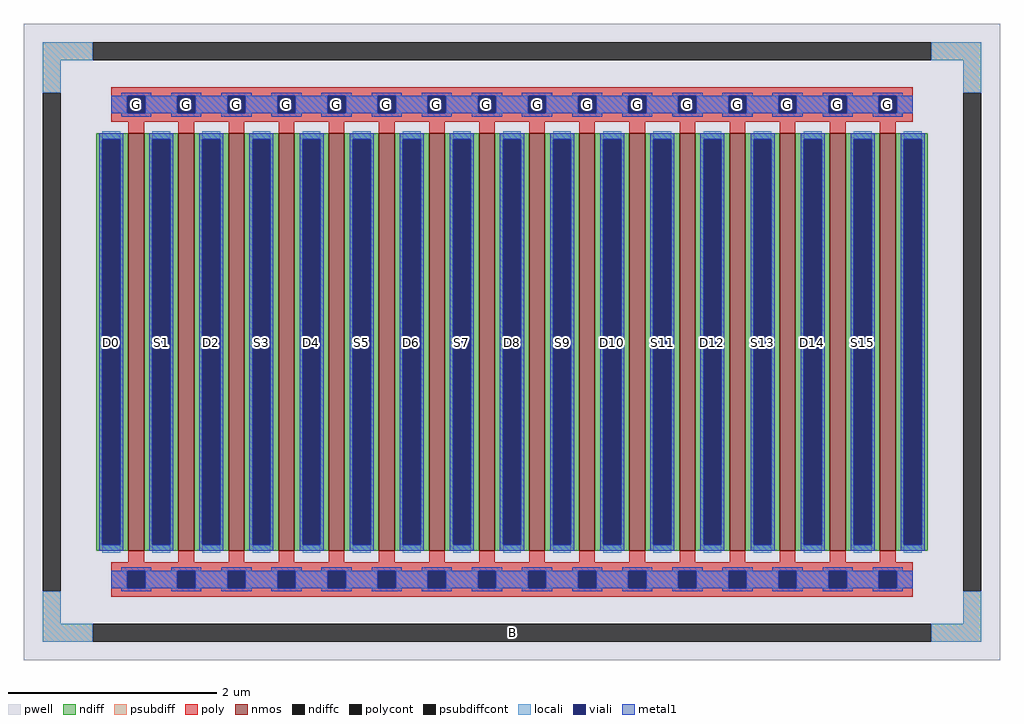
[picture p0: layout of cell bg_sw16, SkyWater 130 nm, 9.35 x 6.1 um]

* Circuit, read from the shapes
.subckt bg_sw16 B D0 G S1 D2 S3 D4 S5 D6 S7 D8 S9 D10 S11 D12 S13 D14 S15
XM1 S1 G D0 B sky130_fd_pr__nfet_01v8 w=4 l=0.15
XM2 D2 G S1 B sky130_fd_pr__nfet_01v8 w=4 l=0.15
XM3 S3 G D2 B sky130_fd_pr__nfet_01v8 w=4 l=0.15
XM4 D4 G S3 B sky130_fd_pr__nfet_01v8 w=4 l=0.15
XM5 S5 G D4 B sky130_fd_pr__nfet_01v8 w=4 l=0.15
XM6 D6 G S5 B sky130_fd_pr__nfet_01v8 w=4 l=0.15
XM7 S7 G D6 B sky130_fd_pr__nfet_01v8 w=4 l=0.15
XM8 D8 G S7 B sky130_fd_pr__nfet_01v8 w=4 l=0.15
XM9 S9 G D8 B sky130_fd_pr__nfet_01v8 w=4 l=0.15
XM10 D10 G S9 B sky130_fd_pr__nfet_01v8 w=4 l=0.15
XM11 S11 G D10 B sky130_fd_pr__nfet_01v8 w=4 l=0.15
XM12 D12 G S11 B sky130_fd_pr__nfet_01v8 w=4 l=0.15
XM13 S13 G D12 B sky130_fd_pr__nfet_01v8 w=4 l=0.15
XM14 D14 G S13 B sky130_fd_pr__nfet_01v8 w=4 l=0.15
XM15 S15 G D14 B sky130_fd_pr__nfet_01v8 w=4 l=0.15
XM16 n1 G S15 B sky130_fd_pr__nfet_01v8 w=4 l=0.15
.ends

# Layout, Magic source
magic
tech sky130A
magscale 1 2
<< pwell >>
rect -935 -610 935 610
<< nmos >>
rect -735 -400 -705 400
rect -639 -400 -609 400
rect -543 -400 -513 400
rect -447 -400 -417 400
rect -351 -400 -321 400
rect -255 -400 -225 400
rect -159 -400 -129 400
rect -63 -400 -33 400
rect 33 -400 63 400
rect 129 -400 159 400
rect 225 -400 255 400
rect 321 -400 351 400
rect 417 -400 447 400
rect 513 -400 543 400
rect 609 -400 639 400
rect 705 -400 735 400
<< ndiff >>
rect -797 388 -735 400
rect -797 -388 -785 388
rect -751 -388 -735 388
rect -797 -400 -735 -388
rect -705 388 -639 400
rect -705 -388 -689 388
rect -655 -388 -639 388
rect -705 -400 -639 -388
rect -609 388 -543 400
rect -609 -388 -593 388
rect -559 -388 -543 388
rect -609 -400 -543 -388
rect -513 388 -447 400
rect -513 -388 -497 388
rect -463 -388 -447 388
rect -513 -400 -447 -388
rect -417 388 -351 400
rect -417 -388 -401 388
rect -367 -388 -351 388
rect -417 -400 -351 -388
rect -321 388 -255 400
rect -321 -388 -305 388
rect -271 -388 -255 388
rect -321 -400 -255 -388
rect -225 388 -159 400
rect -225 -388 -209 388
rect -175 -388 -159 388
rect -225 -400 -159 -388
rect -129 388 -63 400
rect -129 -388 -113 388
rect -79 -388 -63 388
rect -129 -400 -63 -388
rect -33 388 33 400
rect -33 -388 -17 388
rect 17 -388 33 388
rect -33 -400 33 -388
rect 63 388 129 400
rect 63 -388 79 388
rect 113 -388 129 388
rect 63 -400 129 -388
rect 159 388 225 400
rect 159 -388 175 388
rect 209 -388 225 388
rect 159 -400 225 -388
rect 255 388 321 400
rect 255 -388 271 388
rect 305 -388 321 388
rect 255 -400 321 -388
rect 351 388 417 400
rect 351 -388 367 388
rect 401 -388 417 388
rect 351 -400 417 -388
rect 447 388 513 400
rect 447 -388 463 388
rect 497 -388 513 388
rect 447 -400 513 -388
rect 543 388 609 400
rect 543 -388 559 388
rect 593 -388 609 388
rect 543 -400 609 -388
rect 639 388 705 400
rect 639 -388 655 388
rect 689 -388 705 388
rect 639 -400 705 -388
rect 735 388 797 400
rect 735 -388 751 388
rect 785 -388 797 388
rect 735 -400 797 -388
<< ndiffc >>
rect -785 -388 -751 388
rect -689 -388 -655 388
rect -593 -388 -559 388
rect -497 -388 -463 388
rect -401 -388 -367 388
rect -305 -388 -271 388
rect -209 -388 -175 388
rect -113 -388 -79 388
rect -17 -388 17 388
rect 79 -388 113 388
rect 175 -388 209 388
rect 271 -388 305 388
rect 367 -388 401 388
rect 463 -388 497 388
rect 559 -388 593 388
rect 655 -388 689 388
rect 751 -388 785 388
<< psubdiff >>
rect -899 540 -803 574
rect 803 540 899 574
rect -899 478 -865 540
rect 865 478 899 540
rect -899 -540 -865 -478
rect 865 -540 899 -478
rect -899 -574 -803 -540
rect 803 -574 899 -540
<< psubdiffcont >>
rect -803 540 803 574
rect -899 -478 -865 478
rect 865 -478 899 478
rect -803 -574 803 -540
<< poly >>
rect -768 472 768 488
rect -768 438 -737 472
rect -703 438 -641 472
rect -607 438 -545 472
rect -511 438 -449 472
rect -415 438 -353 472
rect -319 438 -257 472
rect -223 438 -161 472
rect -127 438 -65 472
rect -31 438 31 472
rect 65 438 127 472
rect 161 438 223 472
rect 257 438 319 472
rect 353 438 415 472
rect 449 438 511 472
rect 545 438 607 472
rect 641 438 703 472
rect 737 438 768 472
rect -768 422 768 438
rect -735 400 -705 422
rect -639 400 -609 422
rect -543 400 -513 422
rect -447 400 -417 422
rect -351 400 -321 422
rect -255 400 -225 422
rect -159 400 -129 422
rect -63 400 -33 422
rect 33 400 63 422
rect 129 400 159 422
rect 225 400 255 422
rect 321 400 351 422
rect 417 400 447 422
rect 513 400 543 422
rect 609 400 639 422
rect 705 400 735 422
rect -735 -422 -705 -400
rect -639 -422 -609 -400
rect -543 -422 -513 -400
rect -447 -422 -417 -400
rect -351 -422 -321 -400
rect -255 -422 -225 -400
rect -159 -422 -129 -400
rect -63 -422 -33 -400
rect 33 -422 63 -400
rect 129 -422 159 -400
rect 225 -422 255 -400
rect 321 -422 351 -400
rect 417 -422 447 -400
rect 513 -422 543 -400
rect 609 -422 639 -400
rect 705 -422 735 -400
rect -768 -438 768 -422
rect -768 -472 -737 -438
rect -703 -472 -641 -438
rect -607 -472 -545 -438
rect -511 -472 -449 -438
rect -415 -472 -353 -438
rect -319 -472 -257 -438
rect -223 -472 -161 -438
rect -127 -472 -65 -438
rect -31 -472 31 -438
rect 65 -472 127 -438
rect 161 -472 223 -438
rect 257 -472 319 -438
rect 353 -472 415 -438
rect 449 -472 511 -438
rect 545 -472 607 -438
rect 641 -472 703 -438
rect 737 -472 768 -438
rect -768 -488 768 -472
<< polycont >>
rect -737 438 -703 472
rect -641 438 -607 472
rect -545 438 -511 472
rect -449 438 -415 472
rect -353 438 -319 472
rect -257 438 -223 472
rect -161 438 -127 472
rect -65 438 -31 472
rect 31 438 65 472
rect 127 438 161 472
rect 223 438 257 472
rect 319 438 353 472
rect 415 438 449 472
rect 511 438 545 472
rect 607 438 641 472
rect 703 438 737 472
rect -737 -472 -703 -438
rect -641 -472 -607 -438
rect -545 -472 -511 -438
rect -449 -472 -415 -438
rect -353 -472 -319 -438
rect -257 -472 -223 -438
rect -161 -472 -127 -438
rect -65 -472 -31 -438
rect 31 -472 65 -438
rect 127 -472 161 -438
rect 223 -472 257 -438
rect 319 -472 353 -438
rect 415 -472 449 -438
rect 511 -472 545 -438
rect 607 -472 641 -438
rect 703 -472 737 -438
<< locali >>
rect -899 540 -803 574
rect 803 540 899 574
rect -899 478 -865 540
rect 865 478 899 540
rect -768 438 -737 472
rect -703 438 -641 472
rect -607 438 -545 472
rect -511 438 -449 472
rect -415 438 -353 472
rect -319 438 -257 472
rect -223 438 -161 472
rect -127 438 -65 472
rect -31 438 31 472
rect 65 438 127 472
rect 161 438 223 472
rect 257 438 319 472
rect 353 438 415 472
rect 449 438 511 472
rect 545 438 607 472
rect 641 438 703 472
rect 737 438 768 472
rect -785 388 -751 404
rect -785 -404 -751 -388
rect -689 388 -655 404
rect -689 -404 -655 -388
rect -593 388 -559 404
rect -593 -404 -559 -388
rect -497 388 -463 404
rect -497 -404 -463 -388
rect -401 388 -367 404
rect -401 -404 -367 -388
rect -305 388 -271 404
rect -305 -404 -271 -388
rect -209 388 -175 404
rect -209 -404 -175 -388
rect -113 388 -79 404
rect -113 -404 -79 -388
rect -17 388 17 404
rect -17 -404 17 -388
rect 79 388 113 404
rect 79 -404 113 -388
rect 175 388 209 404
rect 175 -404 209 -388
rect 271 388 305 404
rect 271 -404 305 -388
rect 367 388 401 404
rect 367 -404 401 -388
rect 463 388 497 404
rect 463 -404 497 -388
rect 559 388 593 404
rect 559 -404 593 -388
rect 655 388 689 404
rect 655 -404 689 -388
rect 751 388 785 404
rect 751 -404 785 -388
rect -768 -472 -737 -438
rect -703 -472 -641 -438
rect -607 -472 -545 -438
rect -511 -472 -449 -438
rect -415 -472 -353 -438
rect -319 -472 -257 -438
rect -223 -472 -161 -438
rect -127 -472 -65 -438
rect -31 -472 31 -438
rect 65 -472 127 -438
rect 161 -472 223 -438
rect 257 -472 319 -438
rect 353 -472 415 -438
rect 449 -472 511 -438
rect 545 -472 607 -438
rect 641 -472 703 -438
rect 737 -472 768 -438
rect -899 -540 -865 -478
rect 865 -540 899 -478
rect -899 -574 -803 -540
rect 803 -574 899 -540
<< viali >>
rect -737 438 -703 472
rect -641 438 -607 472
rect -545 438 -511 472
rect -449 438 -415 472
rect -353 438 -319 472
rect -257 438 -223 472
rect -161 438 -127 472
rect -65 438 -31 472
rect 31 438 65 472
rect 127 438 161 472
rect 223 438 257 472
rect 319 438 353 472
rect 415 438 449 472
rect 511 438 545 472
rect 607 438 641 472
rect 703 438 737 472
rect -785 -388 -751 388
rect -689 -388 -655 388
rect -593 -388 -559 388
rect -497 -388 -463 388
rect -401 -388 -367 388
rect -305 -388 -271 388
rect -209 -388 -175 388
rect -113 -388 -79 388
rect -17 -388 17 388
rect 79 -388 113 388
rect 175 -388 209 388
rect 271 -388 305 388
rect 367 -388 401 388
rect 463 -388 497 388
rect 559 -388 593 388
rect 655 -388 689 388
rect 751 -388 785 388
rect -737 -472 -703 -438
rect -641 -472 -607 -438
rect -545 -472 -511 -438
rect -449 -472 -415 -438
rect -353 -472 -319 -438
rect -257 -472 -223 -438
rect -161 -472 -127 -438
rect -65 -472 -31 -438
rect 31 -472 65 -438
rect 127 -472 161 -438
rect 223 -472 257 -438
rect 319 -472 353 -438
rect 415 -472 449 -438
rect 511 -472 545 -438
rect 607 -472 641 -438
rect 703 -472 737 -438
<< metal1 >>
rect -749 472 -691 478
rect -653 472 -595 478
rect -557 472 -499 478
rect -461 472 -403 478
rect -365 472 -307 478
rect -269 472 -211 478
rect -173 472 -115 478
rect -77 472 -19 478
rect 19 472 77 478
rect 115 472 173 478
rect 211 472 269 478
rect 307 472 365 478
rect 403 472 461 478
rect 499 472 557 478
rect 595 472 653 478
rect 691 472 749 478
rect -768 438 -737 472
rect -703 438 -641 472
rect -607 438 -545 472
rect -511 438 -449 472
rect -415 438 -353 472
rect -319 438 -257 472
rect -223 438 -161 472
rect -127 438 -65 472
rect -31 438 31 472
rect 65 438 127 472
rect 161 438 223 472
rect 257 438 319 472
rect 353 438 415 472
rect 449 438 511 472
rect 545 438 607 472
rect 641 438 703 472
rect 737 438 768 472
rect -749 432 -691 438
rect -653 432 -595 438
rect -557 432 -499 438
rect -461 432 -403 438
rect -365 432 -307 438
rect -269 432 -211 438
rect -173 432 -115 438
rect -77 432 -19 438
rect 19 432 77 438
rect 115 432 173 438
rect 211 432 269 438
rect 307 432 365 438
rect 403 432 461 438
rect 499 432 557 438
rect 595 432 653 438
rect 691 432 749 438
rect -791 388 -745 400
rect -791 -388 -785 388
rect -751 -388 -745 388
rect -791 -400 -745 -388
rect -695 388 -649 400
rect -695 -388 -689 388
rect -655 -388 -649 388
rect -695 -400 -649 -388
rect -599 388 -553 400
rect -599 -388 -593 388
rect -559 -388 -553 388
rect -599 -400 -553 -388
rect -503 388 -457 400
rect -503 -388 -497 388
rect -463 -388 -457 388
rect -503 -400 -457 -388
rect -407 388 -361 400
rect -407 -388 -401 388
rect -367 -388 -361 388
rect -407 -400 -361 -388
rect -311 388 -265 400
rect -311 -388 -305 388
rect -271 -388 -265 388
rect -311 -400 -265 -388
rect -215 388 -169 400
rect -215 -388 -209 388
rect -175 -388 -169 388
rect -215 -400 -169 -388
rect -119 388 -73 400
rect -119 -388 -113 388
rect -79 -388 -73 388
rect -119 -400 -73 -388
rect -23 388 23 400
rect -23 -388 -17 388
rect 17 -388 23 388
rect -23 -400 23 -388
rect 73 388 119 400
rect 73 -388 79 388
rect 113 -388 119 388
rect 73 -400 119 -388
rect 169 388 215 400
rect 169 -388 175 388
rect 209 -388 215 388
rect 169 -400 215 -388
rect 265 388 311 400
rect 265 -388 271 388
rect 305 -388 311 388
rect 265 -400 311 -388
rect 361 388 407 400
rect 361 -388 367 388
rect 401 -388 407 388
rect 361 -400 407 -388
rect 457 388 503 400
rect 457 -388 463 388
rect 497 -388 503 388
rect 457 -400 503 -388
rect 553 388 599 400
rect 553 -388 559 388
rect 593 -388 599 388
rect 553 -400 599 -388
rect 649 388 695 400
rect 649 -388 655 388
rect 689 -388 695 388
rect 649 -400 695 -388
rect 745 388 791 400
rect 745 -388 751 388
rect 785 -388 791 388
rect 745 -400 791 -388
rect -749 -438 -691 -432
rect -653 -438 -595 -432
rect -557 -438 -499 -432
rect -461 -438 -403 -432
rect -365 -438 -307 -432
rect -269 -438 -211 -432
rect -173 -438 -115 -432
rect -77 -438 -19 -432
rect 19 -438 77 -432
rect 115 -438 173 -432
rect 211 -438 269 -432
rect 307 -438 365 -432
rect 403 -438 461 -432
rect 499 -438 557 -432
rect 595 -438 653 -432
rect 691 -438 749 -432
rect -768 -472 -737 -438
rect -703 -472 -641 -438
rect -607 -472 -545 -438
rect -511 -472 -449 -438
rect -415 -472 -353 -438
rect -319 -472 -257 -438
rect -223 -472 -161 -438
rect -127 -472 -65 -438
rect -31 -472 31 -438
rect 65 -472 127 -438
rect 161 -472 223 -438
rect 257 -472 319 -438
rect 353 -472 415 -438
rect 449 -472 511 -438
rect 545 -472 607 -438
rect 641 -472 703 -438
rect 737 -472 768 -438
rect -749 -478 -691 -472
rect -653 -478 -595 -472
rect -557 -478 -499 -472
rect -461 -478 -403 -472
rect -365 -478 -307 -472
rect -269 -478 -211 -472
rect -173 -478 -115 -472
rect -77 -478 -19 -472
rect 19 -478 77 -472
rect 115 -478 173 -472
rect 211 -478 269 -472
rect 307 -478 365 -472
rect 403 -478 461 -472
rect 499 -478 557 -472
rect 595 -478 653 -472
rect 691 -478 749 -472
<< labels >>
rlabel psubdiffcont 0 -557 0 -557 0 B
port 1 nsew
rlabel ndiffc -768 0 -768 0 0 D0
port 2 nsew
rlabel polycont -720 455 -720 455 0 G
port 3 nsew
rlabel ndiffc -672 0 -672 0 0 S1
port 4 nsew
rlabel polycont -624 455 -624 455 0 G
port 3 nsew
rlabel ndiffc -576 0 -576 0 0 D2
port 5 nsew
rlabel polycont -528 455 -528 455 0 G
port 3 nsew
rlabel ndiffc -480 0 -480 0 0 S3
port 6 nsew
rlabel polycont -432 455 -432 455 0 G
port 3 nsew
rlabel ndiffc -384 0 -384 0 0 D4
port 7 nsew
rlabel polycont -336 455 -336 455 0 G
port 3 nsew
rlabel ndiffc -288 0 -288 0 0 S5
port 8 nsew
rlabel polycont -240 455 -240 455 0 G
port 3 nsew
rlabel ndiffc -192 0 -192 0 0 D6
port 9 nsew
rlabel polycont -144 455 -144 455 0 G
port 3 nsew
rlabel ndiffc -96 0 -96 0 0 S7
port 10 nsew
rlabel polycont -48 455 -48 455 0 G
port 3 nsew
rlabel ndiffc 0 0 0 0 0 D8
port 11 nsew
rlabel polycont 48 455 48 455 0 G
port 3 nsew
rlabel ndiffc 96 0 96 0 0 S9
port 12 nsew
rlabel polycont 144 455 144 455 0 G
port 3 nsew
rlabel ndiffc 192 0 192 0 0 D10
port 13 nsew
rlabel polycont 240 455 240 455 0 G
port 3 nsew
rlabel ndiffc 288 0 288 0 0 S11
port 14 nsew
rlabel polycont 336 455 336 455 0 G
port 3 nsew
rlabel ndiffc 384 0 384 0 0 D12
port 15 nsew
rlabel polycont 432 455 432 455 0 G
port 3 nsew
rlabel ndiffc 480 0 480 0 0 S13
port 16 nsew
rlabel polycont 528 455 528 455 0 G
port 3 nsew
rlabel ndiffc 576 0 576 0 0 D14
port 17 nsew
rlabel polycont 624 455 624 455 0 G
port 3 nsew
rlabel ndiffc 672 0 672 0 0 S15
port 18 nsew
rlabel polycont 720 455 720 455 0 G
port 3 nsew
<< properties >>
string FIXED_BBOX -882 -557 882 557
<< end >>
